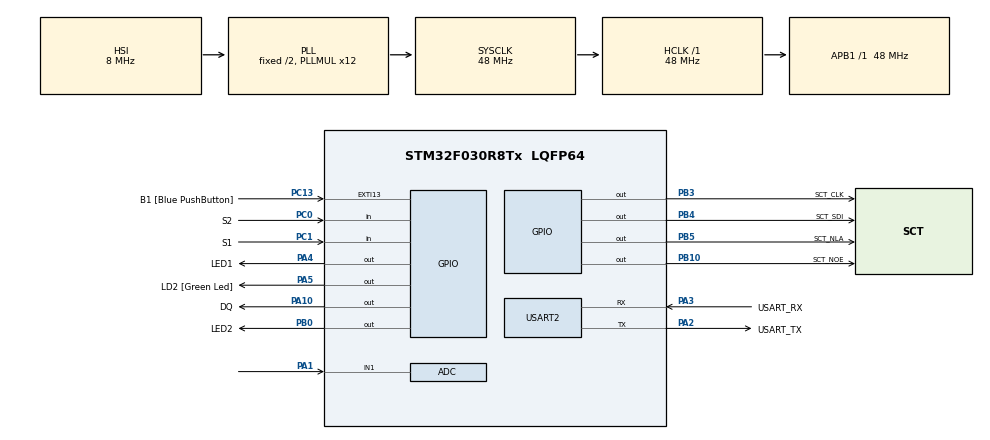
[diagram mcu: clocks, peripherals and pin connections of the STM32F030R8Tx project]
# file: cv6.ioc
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ADC.ContinuousConvMode=ENABLE
ADC.Overrun=ADC_OVR_DATA_OVERWRITTEN
ADC.Resolution=ADC_RESOLUTION_10B
Mcu.Family=STM32F0
Mcu.Name=STM32F030R8Tx
Mcu.Package=LQFP64
PA1.Mode=IN1
PA1.Signal=ADC_IN1
PA10.GPIO_Label=DQ
PA10.GPIO_ModeDefaultOutputPP=GPIO_MODE_OUTPUT_OD
PA10.GPIO_PuPd=GPIO_NOPULL
PA10.PinState=GPIO_PIN_SET
PA10.Signal=GPIO_Output
PA13.GPIO_Label=TMS
PA13.Mode=Serial_Wire
PA13.Signal=SYS_SWDIO
PA14.GPIO_Label=TCK
PA14.Mode=Serial_Wire
PA14.Signal=SYS_SWCLK
PA2.GPIO_Label=USART_TX
PA2.GPIO_Mode=GPIO_MODE_AF_PP
PA2.GPIO_PuPd=GPIO_NOPULL
PA2.GPIO_Speed=GPIO_SPEED_FREQ_LOW
PA2.Mode=Asynchronous
PA2.Signal=USART2_TX
PA3.GPIO_Label=USART_RX
PA3.GPIO_Mode=GPIO_MODE_AF_PP
PA3.GPIO_PuPd=GPIO_NOPULL
PA3.GPIO_Speed=GPIO_SPEED_FREQ_LOW
PA3.Mode=Asynchronous
PA3.Signal=USART2_RX
PA4.GPIO_Label=LED1
PA4.Signal=GPIO_Output
PA5.GPIO_Label=LD2 [Green Led]
PA5.GPIO_Mode=GPIO_MODE_OUTPUT_PP
PA5.GPIO_PuPd=GPIO_NOPULL
PA5.GPIO_Speed=GPIO_SPEED_FREQ_LOW
PA5.Signal=GPIO_Output
PB0.GPIO_Label=LED2
PB0.Signal=GPIO_Output
PB10.GPIO_Label=SCT_NOE
PB10.Signal=GPIO_Output
PB3.GPIO_Label=SCT_CLK
PB3.Signal=GPIO_Output
PB4.GPIO_Label=SCT_SDI
PB4.Signal=GPIO_Output
PB5.GPIO_Label=SCT_NLA
PB5.Signal=GPIO_Output
PC0.GPIO_Label=S2
PC0.GPIO_PuPd=GPIO_PULLUP
PC0.Signal=GPIO_Input
PC1.GPIO_Label=S1
PC1.GPIO_PuPd=GPIO_PULLUP
PC1.Signal=GPIO_Input
PC13.GPIO_Label=B1 [Blue PushButton]
PC13.GPIO_ModeDefaultEXTI=GPIO_MODE_IT_FALLING
PC13.Signal=GPXTI13
PC14-OSC32_IN.Mode=LSE-External-Oscillator
PC14-OSC32_IN.Signal=RCC_OSC32_IN
PC15-OSC32_OUT.Mode=LSE-External-Oscillator
PC15-OSC32_OUT.Signal=RCC_OSC32_OUT
PF0-OSC_IN.Mode=HSE-External-Clock-Source
PF0-OSC_IN.Signal=RCC_OSC_IN
PF1-OSC_OUT.Signal=RCC_OSC_OUT
ProjectManager.HeapSize=0x200
ProjectManager.StackSize=0x400
ProjectManager.TargetToolchain=STM32CubeIDE
RCC.AHBFreq_Value=48000000
RCC.APB1Freq_Value=48000000
RCC.APB1TimFreq_Value=48000000
RCC.HCLKFreq_Value=48000000
RCC.PLLMUL=RCC_PLL_MUL12
RCC.SYSCLKFreq_VALUE=48000000
RCC.SYSCLKSource=RCC_SYSCLKSOURCE_PLLCLK
USART2.VirtualMode-Asynchronous=VM_ASYNC
board=NUCLEO-F030R8

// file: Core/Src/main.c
/* USER CODE BEGIN Header */
/**
  ******************************************************************************
  * @file           : main.c
  * @brief          : Main program body
  ******************************************************************************
  * @attention
  *
  * Copyright (c) 2024 STMicroelectronics.
  * All rights reserved.
  *
  * This software is licensed under terms that can be found in the LICENSE file
  * in the root directory of this software component.
  * If no LICENSE file comes with this software, it is provided AS-IS.
  *
  ******************************************************************************
  */
/* USER CODE END Header */
#include "main.h"

/* USER CODE BEGIN Includes */
#include "1wire.h"
#include "sct.h"
/* USER CODE END Includes */

ADC_HandleTypeDef hadc;

UART_HandleTypeDef huart2;

/* USER CODE BEGIN PV */
int16_t data[] = {
		#include "data.dlm"
		};
static enum { SHOW_ANALOG, SHOW_DIGITAL} state = SHOW_ANALOG;
static enum { WAITING, READY} digital = WAITING;
/* USER CODE END PV */

void SystemClock_Config(void);
static void MX_GPIO_Init(void);
static void MX_USART2_UART_Init(void);
static void MX_ADC_Init(void);
/* USER CODE BEGIN PFP */
static void readTemp(void);
/* USER CODE END PFP */

int main(void)
{

  /* MCU Configuration--------------------------------------------------------*/

  /* Reset of all peripherals, Initializes the Flash interface and the Systick. */
  HAL_Init();

  /* Configure the system clock */
  SystemClock_Config();

  /* Initialize all configured peripherals */
  MX_GPIO_Init();
  MX_USART2_UART_Init();
  MX_ADC_Init();
  /* USER CODE BEGIN 2 */
  OWInit();
  sct_init();
  HAL_ADCEx_Calibration_Start(&hadc);
  HAL_ADC_Start(&hadc);

  /* USER CODE END 2 */

  /* Infinite loop */
  /* USER CODE BEGIN WHILE */
  while (1)
  {
	readTemp();
    /* USER CODE END WHILE */

  }
}

void SystemClock_Config(void)
{
  RCC_OscInitTypeDef RCC_OscInitStruct = {0};
  RCC_ClkInitTypeDef RCC_ClkInitStruct = {0};

  /** Initializes the RCC Oscillators according to the specified parameters
  * in the RCC_OscInitTypeDef structure.
  */
  RCC_OscInitStruct.OscillatorType = RCC_OSCILLATORTYPE_HSI|RCC_OSCILLATORTYPE_HSI14;
  RCC_OscInitStruct.HSIState = RCC_HSI_ON;
  RCC_OscInitStruct.HSI14State = RCC_HSI14_ON;
  RCC_OscInitStruct.HSICalibrationValue = RCC_HSICALIBRATION_DEFAULT;
  RCC_OscInitStruct.HSI14CalibrationValue = 16;
  RCC_OscInitStruct.PLL.PLLState = RCC_PLL_ON;
  RCC_OscInitStruct.PLL.PLLSource = RCC_PLLSOURCE_HSI;
  RCC_OscInitStruct.PLL.PLLMUL = RCC_PLL_MUL12;
  RCC_OscInitStruct.PLL.PREDIV = RCC_PREDIV_DIV1;
  if (HAL_RCC_OscConfig(&RCC_OscInitStruct) != HAL_OK)
  {
    Error_Handler();
  }

  /** Initializes the CPU, AHB and APB buses clocks
  */
  RCC_ClkInitStruct.ClockType = RCC_CLOCKTYPE_HCLK|RCC_CLOCKTYPE_SYSCLK
                              |RCC_CLOCKTYPE_PCLK1;
  RCC_ClkInitStruct.SYSCLKSource = RCC_SYSCLKSOURCE_PLLCLK;
  RCC_ClkInitStruct.AHBCLKDivider = RCC_SYSCLK_DIV1;
  RCC_ClkInitStruct.APB1CLKDivider = RCC_HCLK_DIV1;

  if (HAL_RCC_ClockConfig(&RCC_ClkInitStruct, FLASH_LATENCY_1) != HAL_OK)
  {
    Error_Handler();
  }
}

static void MX_ADC_Init(void)
{

  ADC_ChannelConfTypeDef sConfig = {0};

  /** Configure the global features of the ADC (Clock, Resolution, Data Alignment and number of conversion)
  */
  hadc.Instance = ADC1;
  hadc.Init.ClockPrescaler = ADC_CLOCK_ASYNC_DIV1;
  hadc.Init.Resolution = ADC_RESOLUTION_10B;
  hadc.Init.DataAlign = ADC_DATAALIGN_RIGHT;
  hadc.Init.ScanConvMode = ADC_SCAN_DIRECTION_FORWARD;
  hadc.Init.EOCSelection = ADC_EOC_SINGLE_CONV;
  hadc.Init.LowPowerAutoWait = DISABLE;
  hadc.Init.LowPowerAutoPowerOff = DISABLE;
  hadc.Init.ContinuousConvMode = ENABLE;
  hadc.Init.DiscontinuousConvMode = DISABLE;
  hadc.Init.ExternalTrigConv = ADC_SOFTWARE_START;
  hadc.Init.ExternalTrigConvEdge = ADC_EXTERNALTRIGCONVEDGE_NONE;
  hadc.Init.DMAContinuousRequests = DISABLE;
  hadc.Init.Overrun = ADC_OVR_DATA_OVERWRITTEN;
  if (HAL_ADC_Init(&hadc) != HAL_OK)
  {
    Error_Handler();
  }

  /** Configure for the selected ADC regular channel to be converted.
  */
  sConfig.Channel = ADC_CHANNEL_1;
  sConfig.Rank = ADC_RANK_CHANNEL_NUMBER;
  sConfig.SamplingTime = ADC_SAMPLETIME_1CYCLE_5;
  if (HAL_ADC_ConfigChannel(&hadc, &sConfig) != HAL_OK)
  {
    Error_Handler();
  }

}

static void MX_USART2_UART_Init(void)
{

  huart2.Instance = USART2;
  huart2.Init.BaudRate = 38400;
  huart2.Init.WordLength = UART_WORDLENGTH_8B;
  huart2.Init.StopBits = UART_STOPBITS_1;
  huart2.Init.Parity = UART_PARITY_NONE;
  huart2.Init.Mode = UART_MODE_TX_RX;
  huart2.Init.HwFlowCtl = UART_HWCONTROL_NONE;
  huart2.Init.OverSampling = UART_OVERSAMPLING_16;
  huart2.Init.OneBitSampling = UART_ONE_BIT_SAMPLE_DISABLE;
  huart2.AdvancedInit.AdvFeatureInit = UART_ADVFEATURE_NO_INIT;
  if (HAL_UART_Init(&huart2) != HAL_OK)
  {
    Error_Handler();
  }

}

static void MX_GPIO_Init(void)
{
  GPIO_InitTypeDef GPIO_InitStruct = {0};

  /* GPIO Ports Clock Enable */
  __HAL_RCC_GPIOC_CLK_ENABLE();
  __HAL_RCC_GPIOF_CLK_ENABLE();
  __HAL_RCC_GPIOA_CLK_ENABLE();
  __HAL_RCC_GPIOB_CLK_ENABLE();

  /*Configure GPIO pin Output Level */
  HAL_GPIO_WritePin(GPIOA, LED1_Pin|LD2_Pin, GPIO_PIN_RESET);

  /*Configure GPIO pin Output Level */
  HAL_GPIO_WritePin(GPIOB, LED2_Pin|SCT_NOE_Pin|SCT_CLK_Pin|SCT_SDI_Pin
                          |SCT_NLA_Pin, GPIO_PIN_RESET);

  /*Configure GPIO pin Output Level */
  HAL_GPIO_WritePin(DQ_GPIO_Port, DQ_Pin, GPIO_PIN_SET);

  /*Configure GPIO pin : B1_Pin */
  GPIO_InitStruct.Pin = B1_Pin;
  GPIO_InitStruct.Mode = GPIO_MODE_IT_FALLING;
  GPIO_InitStruct.Pull = GPIO_NOPULL;
  HAL_GPIO_Init(B1_GPIO_Port, &GPIO_InitStruct);

  /*Configure GPIO pins : S2_Pin S1_Pin */
  GPIO_InitStruct.Pin = S2_Pin|S1_Pin;
  GPIO_InitStruct.Mode = GPIO_MODE_INPUT;
  GPIO_InitStruct.Pull = GPIO_PULLUP;
  HAL_GPIO_Init(GPIOC, &GPIO_InitStruct);

  /*Configure GPIO pins : LED1_Pin LD2_Pin */
  GPIO_InitStruct.Pin = LED1_Pin|LD2_Pin;
  GPIO_InitStruct.Mode = GPIO_MODE_OUTPUT_PP;
  GPIO_InitStruct.Pull = GPIO_NOPULL;
  GPIO_InitStruct.Speed = GPIO_SPEED_FREQ_LOW;
  HAL_GPIO_Init(GPIOA, &GPIO_InitStruct);

  /*Configure GPIO pins : LED2_Pin SCT_NOE_Pin SCT_CLK_Pin SCT_SDI_Pin
                           SCT_NLA_Pin */
  GPIO_InitStruct.Pin = LED2_Pin|SCT_NOE_Pin|SCT_CLK_Pin|SCT_SDI_Pin
                          |SCT_NLA_Pin;
  GPIO_InitStruct.Mode = GPIO_MODE_OUTPUT_PP;
  GPIO_InitStruct.Pull = GPIO_NOPULL;
  GPIO_InitStruct.Speed = GPIO_SPEED_FREQ_LOW;
  HAL_GPIO_Init(GPIOB, &GPIO_InitStruct);

  /*Configure GPIO pin : DQ_Pin */
  GPIO_InitStruct.Pin = DQ_Pin;
  GPIO_InitStruct.Mode = GPIO_MODE_OUTPUT_OD;
  GPIO_InitStruct.Pull = GPIO_NOPULL;
  GPIO_InitStruct.Speed = GPIO_SPEED_FREQ_LOW;
  HAL_GPIO_Init(DQ_GPIO_Port, &GPIO_InitStruct);

}

/* USER CODE BEGIN 4 */
void readTemp(){
	static uint32_t prevTick;
	static int16_t result = 0;
	static int32_t analogResutlt;

	// Changes states according to buttons
	if((HAL_GPIO_ReadPin(S1_GPIO_Port, S1_Pin)==1) & (HAL_GPIO_ReadPin(S2_GPIO_Port, S2_Pin)==0)){
		state = SHOW_ANALOG;
	}
	else if((HAL_GPIO_ReadPin(S1_GPIO_Port, S1_Pin)==0) & (HAL_GPIO_ReadPin(S2_GPIO_Port, S2_Pin)==1)){
		state = SHOW_DIGITAL;
	}

	// Shows temps according to state and waits
	if(state==SHOW_DIGITAL){
		if(digital == READY){
			OWConvertAll();
			prevTick = HAL_GetTick();
			digital = WAITING;
		}
		else if(HAL_GetTick() > CONVERT_T_DELAY + prevTick){
			if(OWReadTemperature(&result)){
				sct_value(result / 10, 0);
				HAL_GPIO_WritePin(LED1_GPIO_Port, LED1_Pin, 0);
				HAL_GPIO_WritePin(LED2_GPIO_Port, LED2_Pin, 1);
				digital = READY;
			}
		}
	}
	else if(state==SHOW_ANALOG){
		if(HAL_GetTick() > CONVERT_T_DELAY + prevTick){
			analogResutlt = HAL_ADC_GetValue(&hadc);
			sct_value(data[analogResutlt], 0);
			HAL_GPIO_WritePin(LED2_GPIO_Port, LED2_Pin, 0);
			HAL_GPIO_WritePin(LED1_GPIO_Port, LED1_Pin, 1);
			prevTick = HAL_GetTick();
		}
	}
}
/* USER CODE END 4 */

void Error_Handler(void)
{
  __disable_irq();
  while (1)
  {
  }
}
